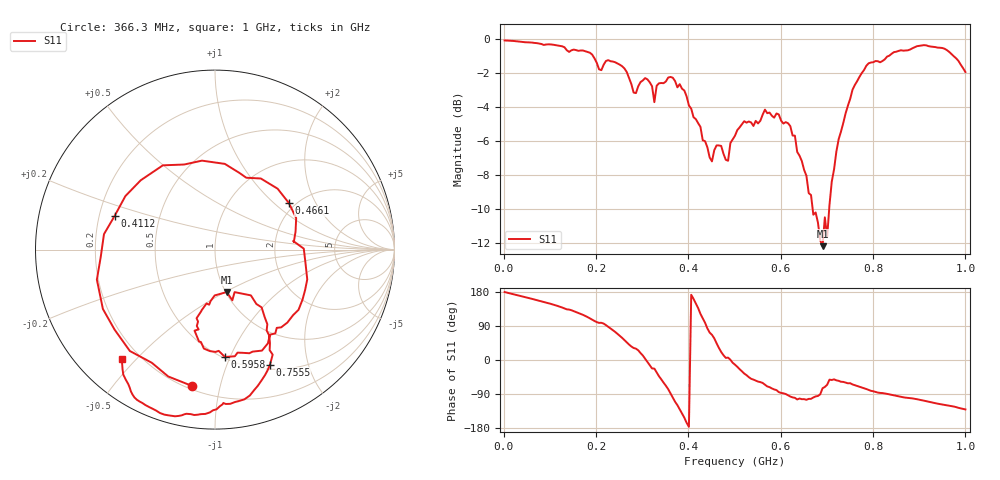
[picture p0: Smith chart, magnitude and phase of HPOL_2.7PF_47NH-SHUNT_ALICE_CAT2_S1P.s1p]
!Agilent N9923A: A.07.32
!Date: Friday, 21 February 2020 06:14:22
!Model: N9923A
!Serial: MY52412229
!GPS Latitude:
!GPS Longitude:
!GPS TimeStamp: 0001-01-01 00:00:00Z
!GPS Seconds Since Last Read: 0
!CHECKSUM:0910171986
!Correction: S11(ON U)
!S1P File: Measurement: S11:
# Hz S DB R 50
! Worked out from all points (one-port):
!   201 points, 2 MHz to 1 GHz, reference 50 ohm
!   lowest |S11| = -12.2 dB at 690.6 MHz (marker M1), VSWR 1.65, Z = 50.6 - j25.5 ohm
!   |S11| at or under -10 dB: 669.2 MHz to 705 MHz (35.84 MHz wide, 5.22 % of centre)
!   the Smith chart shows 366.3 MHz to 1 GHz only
!   S11 on the Smith chart (normalised r, x): 366.3 MHz: 0.22, -0.82; 411.2 MHz: 0.26, +0.15; 466.1 MHz: 1.85, +1.25; 595.8 MHz: 0.51, -0.96; 755.5 MHz: 0.56, -1.44; 1 GHz: 0.13, -0.45
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2000000  -0.06 179.4
1.2675e8  -0.41 138.4
1.9162e8  -0.89 106.5
2.1657e8  -1.49 96.0
2.515e8  -1.49 63.9
2.9142e8  -2.77 25.6
3.1138e8  -2.36 -5.2
3.4132e8  -2.57 -51.1
3.6627e8  -2.26 -99.4
3.7625e8  -2.83 -119.2
3.9621e8  -3.36 -165.7
4.1118e8  -4.59 161.3
4.2615e8  -5.16 121.7
4.3613e8  -6.00 98.3
4.6607e8  -6.26 32.1
5.01e8  -5.68 -12.4
5.3593e8  -4.90 -49.6
5.9581e8  -4.43 -84.7
6.2575e8  -5.67 -98.7
6.5569e8  -8.05 -105.0
6.9062e8  -12.20 -74.6
7.1557e8  -7.66 -51.1
7.505e8  -3.51 -61.2
7.5549e8  -2.97 -64.4
7.9042e8  -1.41 -78.9
8.7525e8  -0.64 -99.9
9.501e8  -0.51 -117.4
1e9  -1.92 -130.5
